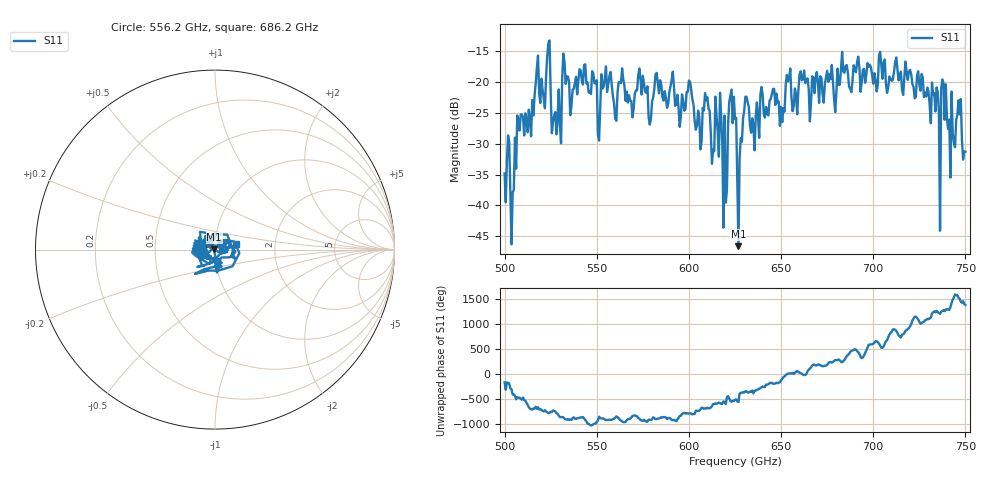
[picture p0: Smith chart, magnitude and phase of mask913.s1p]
!Created with skrf (http://scikit-rf.org).
# GHz S MA R 50.0
!freq magS11 angS11
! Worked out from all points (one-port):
!   401 points, 500 GHz to 750 GHz, reference 50 ohm
!   lowest |S11| = -46.6 dB at 626.9 GHz (marker M1), VSWR 1.01, Z = 49.6 + j0.186 ohm
!   |S11| at or under -10 dB: start of sweep to end of sweep
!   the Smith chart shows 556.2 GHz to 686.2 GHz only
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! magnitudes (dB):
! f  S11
! 500 GHz  -34.8
! 504.4 GHz  -37.9
! 508.1 GHz  -27.9
! 523.8 GHz  -13.7
! 526.9 GHz  -25.4
! 531.2 GHz  -19.3
! 562.5 GHz  -20.1
! 593.8 GHz  -22.1
! 600 GHz  -19.8
! 605.6 GHz  -25.7
! 610 GHz  -22.5
! 612.5 GHz  -33.3
! 616.2 GHz  -32.1
! 619.4 GHz  -25.4
! 623.1 GHz  -21.2
! 625 GHz  -26.0
! 626.9 GHz  -46.6
! 631.2 GHz  -22.4
! 634.4 GHz  -25.9
! 656.2 GHz  -24.7
! 687.5 GHz  -21.1
! 718.8 GHz  -19.7
! 733.8 GHz  -24.8
! 735 GHz  -21.6
! 738.1 GHz  -20.2
! 743.1 GHz  -28.4
! 746.2 GHz  -23.0
! 750 GHz  -31.3
